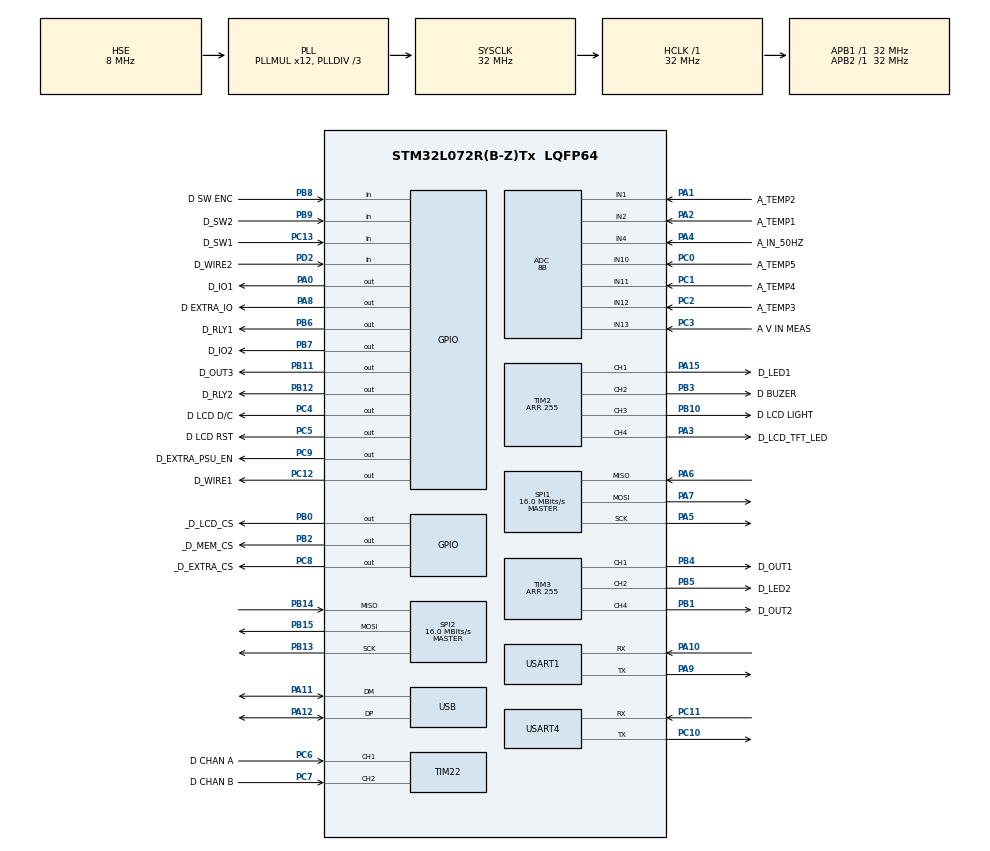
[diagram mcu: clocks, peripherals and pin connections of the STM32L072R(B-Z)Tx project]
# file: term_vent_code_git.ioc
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ADC.ClockPrescaler=ADC_CLOCK_SYNC_PCLK_DIV2
ADC.ContinuousConvMode=DISABLE
ADC.DMAContinuousRequests=DISABLE
ADC.DataAlign=ADC_DATAALIGN_RIGHT
ADC.DiscontinuousConvMode=DISABLE
ADC.EOCSelection=ADC_EOC_SINGLE_CONV
ADC.EnableAnalogWatchDog=false
ADC.ExternalTrigConv=ADC_SOFTWARE_START
ADC.ExternalTrigConvEdge=ADC_EXTERNALTRIGCONVEDGE_NONE
ADC.LowPowerAutoPowerOff=DISABLE
ADC.LowPowerAutoWait=DISABLE
ADC.LowPowerFrequencyMode=DISABLE
ADC.Overrun=ADC_OVR_DATA_PRESERVED
ADC.OversamplingMode=DISABLE
ADC.Resolution=ADC_RESOLUTION_8B
ADC.SamplingTime=ADC_SAMPLETIME_12CYCLES_5
ADC.ScanConvMode=ADC_SCAN_DIRECTION_FORWARD
Dma.ADC.0.Direction=DMA_PERIPH_TO_MEMORY
Dma.ADC.0.Instance=DMA1_Channel1
Dma.ADC.0.MemDataAlignment=DMA_MDATAALIGN_WORD
Dma.ADC.0.MemInc=DMA_MINC_ENABLE
Dma.ADC.0.Mode=DMA_NORMAL
Dma.ADC.0.PeriphDataAlignment=DMA_PDATAALIGN_WORD
Dma.ADC.0.PeriphInc=DMA_PINC_DISABLE
Dma.ADC.0.Priority=DMA_PRIORITY_LOW
Dma.Request0=ADC
Mcu.Family=STM32L0
Mcu.Name=STM32L072R(B-Z)Tx
Mcu.Package=LQFP64
NVIC.DMA1_Channel1_IRQn=true\:0\:0\:false\:false\:true\:false\:true
NVIC.USB_IRQn=true\:0\:0\:false\:false\:true\:false\:true
PA0.GPIO_Label=D_IO1
PA0.GPIO_ModeDefaultOutputPP=GPIO_MODE_OUTPUT_PP
PA0.GPIO_PuPd=GPIO_NOPULL
PA0.Signal=GPIO_Output
PA1.GPIO_Label=A_TEMP2
PA1.Mode=IN1
PA1.Signal=ADC_IN1
PA10.Mode=Asynchronous
PA10.Signal=USART1_RX
PA11.Mode=Device
PA11.Signal=USB_DM
PA12.Mode=Device
PA12.Signal=USB_DP
PA13.Mode=Serial_Wire
PA13.Signal=SYS_SWDIO
PA14.Mode=Serial_Wire
PA14.Signal=SYS_SWCLK
PA15.GPIO_Label=D_LED1
PA15.Signal=S_TIM2_CH1
PA2.GPIO_Label=A_TEMP1
PA2.Mode=IN2
PA2.Signal=ADC_IN2
PA3.GPIO_Label=D_LCD_TFT_LED
PA3.GPIO_ModeDefaultPP=GPIO_MODE_AF_OD
PA3.Signal=S_TIM2_CH4
PA4.GPIO_Label=A_IN_50HZ
PA4.Mode=IN4
PA4.Signal=ADC_IN4
PA5.Mode=Full_Duplex_Master
PA5.Signal=SPI1_SCK
PA6.Mode=Full_Duplex_Master
PA6.Signal=SPI1_MISO
PA7.Mode=Full_Duplex_Master
PA7.Signal=SPI1_MOSI
PA8.GPIO_Label=D EXTRA_IO
PA8.Signal=GPIO_Output
PA9.Mode=Asynchronous
PA9.Signal=USART1_TX
PB0.GPIO_Label=_D_LCD_CS
PB0.Signal=GPIO_Output
PB1.GPIO_Label=D_OUT2
PB1.Signal=S_TIM3_CH4
PB10.GPIO_Label=D LCD LIGHT
PB10.Signal=S_TIM2_CH3
PB11.GPIO_Label=D_OUT3
PB11.Signal=GPIO_Output
PB12.GPIO_Label=D_RLY2
PB12.Signal=GPIO_Output
PB13.Mode=Full_Duplex_Master
PB13.Signal=SPI2_SCK
PB14.Mode=Full_Duplex_Master
PB14.Signal=SPI2_MISO
PB15.Mode=Full_Duplex_Master
PB15.Signal=SPI2_MOSI
PB2.GPIO_Label=_D_MEM_CS
PB2.Signal=GPIO_Output
PB3.GPIO_Label=D BUZER
PB3.Signal=S_TIM2_CH2
PB4.GPIO_Label=D_OUT1
PB4.Signal=S_TIM3_CH1
PB5.GPIO_Label=D_LED2
PB5.Signal=S_TIM3_CH2
PB6.GPIO_Label=D_RLY1
PB6.Signal=GPIO_Output
PB7.GPIO_Label=D_IO2
PB7.Signal=GPIO_Output
PB8.GPIO_Label=D SW ENC
PB8.Signal=GPIO_Input
PB9.GPIO_Label=D_SW2
PB9.Signal=GPIO_Input
PC0.GPIO_Label=A_TEMP5
PC0.Mode=IN10
PC0.Signal=ADC_IN10
PC1.GPIO_Label=A_TEMP4
PC1.Mode=IN11
PC1.Signal=ADC_IN11
PC10.Mode=Asynchronous
PC10.Signal=USART4_TX
PC11.Mode=Asynchronous
PC11.Signal=USART4_RX
PC12.GPIO_Label=D_WIRE1
PC12.Signal=GPIO_Output
PC13.GPIO_Label=D_SW1
PC13.Signal=GPIO_Input
PC14-OSC32_IN.Mode=LSE-External-Oscillator
PC14-OSC32_IN.Signal=RCC_OSC32_IN
PC15-OSC32_OUT.Mode=LSE-External-Oscillator
PC15-OSC32_OUT.Signal=RCC_OSC32_OUT
PC2.GPIO_Label=A_TEMP3
PC2.Mode=IN12
PC2.Signal=ADC_IN12
PC3.GPIO_Label=A V IN MEAS
PC3.Mode=IN13
PC3.Signal=ADC_IN13
PC4.GPIO_Label=D LCD D/C
PC4.Signal=GPIO_Output
PC5.GPIO_Label=D LCD RST
PC5.Signal=GPIO_Output
PC6.GPIO_Label=D CHAN A
PC6.Signal=S_TIM22_CH1
PC7.GPIO_Label=D CHAN B
PC7.Signal=S_TIM22_CH2
PC8.GPIO_Label=_D_EXTRA_CS
PC8.Signal=GPIO_Output
PC9.GPIO_Label=D_EXTRA_PSU_EN
PC9.Signal=GPIO_Output
PD2.GPIO_Label=D_WIRE2
PD2.Signal=GPIO_Input
PH0-OSC_IN.Mode=HSE-External-Oscillator
PH0-OSC_IN.Signal=RCC_OSC_IN
PH1-OSC_OUT.Mode=HSE-External-Oscillator
PH1-OSC_OUT.Signal=RCC_OSC_OUT
ProjectManager.HeapSize=0x200
ProjectManager.StackSize=0x400
ProjectManager.TargetToolchain=Makefile
RCC.AHBFreq_Value=32000000
RCC.APB1Freq_Value=32000000
RCC.APB1TimFreq_Value=32000000
RCC.APB2Freq_Value=32000000
RCC.APB2TimFreq_Value=32000000
RCC.HCLKFreq_Value=32000000
RCC.HSE_VALUE=8000000
RCC.HSI16_VALUE=16000000
RCC.HSI48_VALUE=48000000
RCC.HSI_VALUE=16000000
RCC.MSI_VALUE=2097000
RCC.PLLDIV=RCC_PLLDIV_3
RCC.PLLMUL=RCC_PLLMUL_12
RCC.RTCClockSelection=RCC_RTCCLKSOURCE_LSE
RCC.RTCClockSelectionVirtual=RCC_RTCCLKSOURCE_LSE
RCC.SYSCLKFreq_VALUE=32000000
RCC.SYSCLKSource=RCC_SYSCLKSOURCE_PLLCLK
RCC.VCOOutputFreq_Value=96000000
RTC.Date=19
RTC.Month=RTC_MONTH_DECEMBER
RTC.WeekDay=RTC_WEEKDAY_SATURDAY
RTC.Year=20
SH.S_TIM22_CH1.0=TIM22_CH1,Encoder_Interface
SH.S_TIM22_CH2.0=TIM22_CH2,Encoder_Interface
SH.S_TIM2_CH1.0=TIM2_CH1,PWM Generation1 CH1
SH.S_TIM2_CH2.0=TIM2_CH2,PWM Generation2 CH2
SH.S_TIM2_CH3.0=TIM2_CH3,PWM Generation3 CH3
SH.S_TIM2_CH4.0=TIM2_CH4,PWM Generation4 CH4
SH.S_TIM3_CH1.0=TIM3_CH1,PWM Generation1 CH1
SH.S_TIM3_CH2.0=TIM3_CH2,PWM Generation2 CH2
SH.S_TIM3_CH4.0=TIM3_CH4,PWM Generation4 CH4
SPI1.CalculateBaudRate=16.0 MBits/s
SPI1.Direction=SPI_DIRECTION_2LINES
SPI1.Mode=SPI_MODE_MASTER
SPI1.VirtualType=VM_MASTER
SPI2.CalculateBaudRate=16.0 MBits/s
SPI2.Direction=SPI_DIRECTION_2LINES
SPI2.Mode=SPI_MODE_MASTER
SPI2.VirtualType=VM_MASTER
TIM2.Channel-PWM\ Generation1\ CH1=TIM_CHANNEL_1
TIM2.Channel-PWM\ Generation2\ CH2=TIM_CHANNEL_2
TIM2.Channel-PWM\ Generation3\ CH3=TIM_CHANNEL_3
TIM2.Channel-PWM\ Generation4\ CH4=TIM_CHANNEL_4
TIM2.OCPolarity_1=TIM_OCPOLARITY_HIGH
TIM2.OCPolarity_2=TIM_OCPOLARITY_HIGH
TIM2.OCPolarity_3=TIM_OCPOLARITY_HIGH
TIM2.Period=255
TIM2.Pulse-PWM\ Generation1\ CH1=200
TIM2.Pulse-PWM\ Generation2\ CH2=35
TIM2.Pulse-PWM\ Generation3\ CH3=240
TIM2.Pulse-PWM\ Generation4\ CH4=600
TIM21.Period=0x0FFFF
TIM21.Prescaler=32
TIM3.Channel-PWM\ Generation1\ CH1=TIM_CHANNEL_1
TIM3.Channel-PWM\ Generation2\ CH2=TIM_CHANNEL_2
TIM3.Channel-PWM\ Generation4\ CH4=TIM_CHANNEL_4
TIM3.Period=255
TIM3.Pulse-PWM\ Generation1\ CH1=120
TIM3.Pulse-PWM\ Generation2\ CH2=50
TIM3.Pulse-PWM\ Generation4\ CH4=250
USART1.VirtualMode-Asynchronous=VM_ASYNC
USART4.VirtualMode-Asynchronous=VM_ASYNC
USB_DEVICE.CLASS_NAME_FS=CDC
USB_DEVICE.VirtualMode=Cdc
USB_DEVICE.VirtualModeFS=Cdc_FS
VP_RTC_VS_RTC_Activate.Mode=RTC_Enabled
VP_RTC_VS_RTC_Calendar.Mode=RTC_Calendar
VP_RTC_VS_RTC_WakeUp_intern.Mode=WakeUp
VP_SYS_V_PVD_IN.Mode=Mode_PVD_Int
VP_TIM21_VS_ClockSourceINT.Mode=Internal
VP_USB_DEVICE_VS_USB_DEVICE_CDC_FS.Mode=CDC_FS
board=term_vent_git

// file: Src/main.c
/* USER CODE BEGIN Header */
/**
  ******************************************************************************
  * @file           : main.c
  * @brief          : Main program body
  ******************************************************************************
  * @attention
  *
  * <h2><center>&copy; Copyright (c) 2020 STMicroelectronics.
  * All rights reserved.</center></h2>
  *
  * This software component is licensed by ST under BSD 3-Clause license,
  * the "License"; You may not use this file except in compliance with the
  * License. You may obtain a copy of the License at:
  *                        opensource.org/licenses/BSD-3-Clause
  *
  ******************************************************************************
  */

/**
  * poznamky k debugu - oteviram tento zdrojak pomoci VS Code
  * - build: CTRL+SHIFT+B
  *  - download and run (nahrat do desky a spustit) - Termina - Run task - CPU: build, download and run
  *
  *
  */
// !!!soubor main.c v rootu je z funkcniho zdrojaku - neni uplne zkopirovan,

/* USER CODE END Header */
#include "main.h"
#include "adc.h"
#include "dma.h"
#include "rtc.h"
#include "spi.h"
#include "tim.h"
#include "usart.h"
#include "usb_device.h"
#include "gpio.h"

/* USER CODE BEGIN Includes */
/**
 * Program pro ventilacni system
 */
#include "pinmap.h"
#include "peripherals.h"
#include "global.h"
#include "lcd_12864.h"
#include "BME280.h"
#include "ds18b20.h"
#include <stdio.h>
#include "rtc_api.h"
#include "Time.h"
#include "log.h"
#include "sleep.h"
#include "pwm.h"
#include "mode-auto.h"
#include "menu.h"

/* USER CODE END Includes */

/* USER CODE BEGIN PV */

static States_loop current_state;
static Screen show;
Device_mode vent_mode;
Flags_main flags;
Mode_auto_s vent_auto;

uint32_t citac = 0;
int8_t en_count = 0;
uint16_t ventilation_manual;
uint16_t ventilation_set;

Buttons pushed_button; //cleared each main cycle

/* USER CODE END PV */

void SystemClock_Config(void);

int main(void)
{

  /* MCU Configuration--------------------------------------------------------*/

  /* Reset of all peripherals, Initializes the Flash interface and the Systick. */
  HAL_Init();

  /* USER CODE BEGIN Init */
  char buffer_s[32];
  uint16_t sirka = 0;
  uint32_t InputVoltage = 0;
  uint8_t en_count_last = 0;
  Bool show_time = TRUE;
  uint8_t ventilation_index;
  uint8_t vent_instant = 0;
  char aShowTime[50] = {0};

  //timeouts
  Compare_t backlite_compare, measure_compare, led_compare, time_compare, button_compare, vent_compare, logging_compare, show_timeout, vent_instant_timeout;
  backlite_compare.overflow = FALSE, measure_compare.overflow = FALSE, led_compare.overflow = FALSE, time_compare.overflow = FALSE, button_compare.overflow = FALSE, vent_compare.overflow = FALSE, logging_compare.overflow = FALSE, show_timeout.overflow = FALSE, vent_instant_timeout.overflow = FALSE;
  actual_HALtick.overflow = FALSE;
  past_HALtick.overflow = FALSE;

  /* USER CODE END Init */

  /* Configure the system clock */
  SystemClock_Config();

  /* Initialize all configured peripherals */
  MX_GPIO_Init();
  MX_DMA_Init();
  MX_ADC_Init();
  MX_RTC_Init();
  MX_SPI1_Init();
  MX_SPI2_Init();
  MX_TIM2_Init();
  MX_TIM3_Init();
  MX_TIM21_Init();
  MX_TIM22_Init();
  MX_USART1_UART_Init();
  MX_USART4_UART_Init();
  MX_USB_DEVICE_Init();
  /* USER CODE BEGIN 2 */
  backlite_init();
  fill_comparer(BACKLITE_TIMEOUT, &backlite_compare);

  lcd12864_init(&hspi1);
  line(0, 60, 110, 60, 1);
  lcd_setCharPos(0, 0);
  lcd_printString("Initialization unit\r");
  lcd_printString("term_vent_git\r");
  snprintf(buffer_s, 11, "SW v 0.%03d", SW_VERSION);
  lcd_printString(buffer_s);
  //ENCODER initialization
  HAL_TIM_Encoder_Start(&htim22, TIM_CHANNEL_1);
  htim22.Instance->EGR = 1; // Generate an update event
  htim22.Instance->CR1 = 1; // Enable the counter

  HAL_Delay(1700);
  lcd_clear();

  //Init of timers
  fill_comparer(TIME_PERIODE, &time_compare);
  fill_comparer(BUT_DELAY, &button_compare);
  fill_comparer(10, &vent_compare);
  show = desktop;

  mode_auto_init(&vent_auto); // inicializace automatickeho temperovani - nulovani

  /* USER CODE END 2 */

  /* Infinite loop */
  /* USER CODE BEGIN WHILE */
  for (;;)
  {

    switch (current_state)
    {
    case SLEEP:
    { //			neni potreba spanku
      Go_To_Sleep(&hrtc);
      current_state = MEASURING;
      show_time = TRUE;
      break;
    }
    case IDLE:
    {
      break;
    }
    case VENT:
    {
      /*   AUTO   */
      if (AUTO == vent_mode)
      {
        ventilation_index = mode_auto_index(&vent_auto, &hrtc); // aktualni index dle hodin

        if (vent_auto.PWM_OUT[ventilation_index] == 0) // vypni ventilator
        {
          flags.heating_up = FALSE;
          flags.regulation_temp = FALSE;
        }
        else if (vent_auto.PWM_OUT[ventilation_index] == 1)
        {
          flags.heating_up = FALSE;
          flags.regulation_temp = FALSE;
        }
        else
        {
          flags.regulation_temp = TRUE;
        }
      }
      /*   INSTANT   */
      if (flags.vent_instant) // INSTANTni vyhrivani - vzdy jen max 2 hodiny
      {
        if (!comparer_timeout(&vent_instant_timeout))
          turnOnVentilator(255);
        else
        {
          flags.vent_instant = FALSE;
          flags.vent_instant_req = TRUE;
          vent_instant = 0;
        }
      }
      else // bezny provoz
      {
        // vypni topeni
        {
          turnOffVentilator();
          flags.heating_up = FALSE;
        }
      }
      fill_comparer(VENT_PERIODE, &vent_compare);
      current_state = IDLE;
      break;
    }
#ifdef LOG_ENABLE
    case LOG:
    {
      if (flags.log_enable)
      {
        Log_Temperature(&hrtc, temperature, humid);
      }
      fill_comparer_seconds(LOG_PERIODE, &logging_compare);
      sirka = Log_memory_fullness() * LCD_WIDTH / LOG_DATA_LENGTH;
      current_state = IDLE;
      break;
    }
#endif
    default:
    {
      break;
    }

    } // end of switch CURRENT STATEF

    /* **** SCREEN **** */
    switch (show)
    {

    case blind:
    {
      lcd_clear();
      show = idle;
      break;
    }
    case desktop:
    { // showing main screen - temperatures and Hum
      if (flags.new_data_to_show == TRUE)
      {

        // Marking - heating is active/not active
        lcd_setCharPos(1, 19);
        switch (vent_mode)
        {
        case OFF:
          lcd_printString("-");
          break;
        case MANUAL:
          _putc(0x07f);
          break;
        case AUTO:
          lcd_printString("A");
          break;
        default:
          lcd_printString("E"); //ERROR dostal jsem se mimo definovanou skupinu
          break;
        }

        if (flags.vent_instant_req)
        {
          flags.vent_instant_req = FALSE;
          if (!flags.vent_instant)
          {
            char_magnitude(2);
            lcd_setCharPos(4, 19);
            lcd_printString(" ");
            char_magnitude(1);
            lcd_setCharPos(6, 15);
            snprintf(buffer_s, 8, "        ");
            lcd_printString(buffer_s);

            PWM_duty_change(LED2, 0);
          }
        }

        // END Marking - heating is active/not active

        char_magnitude(1);
        lcd_setCharPos(3, 2);
        if (0 == ventilation_set)
          snprintf(buffer_s, 12, "set  OFF");
        else if (1 == ventilation_set)
        {
          snprintf(buffer_s, 15, "set  NO PRESET");
        }
        else
          snprintf(buffer_s, 12, "set %3d", ventilation_set);
        lcd_printString(buffer_s);

        /*	lcd_setCharPos(6,4);
  					snprintf(buffer_s, 18, "Pres %d.%02d hp",presure/100,presure%100);
  					lcd_printString(buffer_s);
				 */

        flags.new_data_to_show = FALSE; // the data was showed.

        /* Ukazka plnosti pameti na logovani */
        // cara bude na spodni strane a bude tri tecky siroka
        {
          line(0, 62, sirka, 62, 1);
        }

        if ((vent_mode == AUTO) & (!flags.vent_instant))
          mode_auto_graph(&vent_auto, &hrtc); // zakresleni casoveho diagramu zapnuti/ vypnuti topeni

      } // end if - new data to show
      if (show_time)
      {
        RTC_DateShow(&hrtc, aShowTime);
        lcd_setCharPos(0, 11);
        lcd_printString(aShowTime);
        RTC_TimeShow(&hrtc, aShowTime);
        lcd_setCharPos(0, 1);
        lcd_printString(aShowTime);

        if (flags.vent_instant) // odpocet casu pro instant heating
        {
          char_magnitude(2);
          lcd_setCharPos(4, 19);
          _putc(0x07f);
          char_magnitude(1);
          lcd_setCharPos(6, 15);
          uint16_t instantEndTime = end_of_timeout(&vent_instant_timeout);
          snprintf(buffer_s, 8, "%3u:%02u", instantEndTime / 60, instantEndTime % 60);
          lcd_printString(buffer_s);
		      PWM_duty_change(LED2, instantEndTime/60);

        }
        fill_comparer(TIME_PERIODE, &time_compare);
        show_time = FALSE;
      }
      break;
    }
    case menu:
    {
      display_menu(ActualMenu);
      break;
    }
    default:
    {
      lcd_setCharPos(1, 1);
      lcd_printString("ERROR display -default");
    }
    } // switch show

    /* *------ TIME ELAPSING CHECK -------* */
    get_actual_HAL_tick(); // put the actual number of ms counter to variable actual_HALtic.tick

    if (comparer_timeout(&logging_compare)) //log data after defined period.
    {
      current_state = LOG;
    }
    if (comparer_timeout(&vent_compare)) //measure after defined period.
    {
      current_state = VENT;
    }
    if (comparer_timeout(&time_compare)) //change time after defined period.
    {
      show_time = TRUE;
    }

    if (comparer_timeout(&show_timeout)) //change time after defined period.
    {
      show = desktop;
    }
    // MENU TIMEOUT
    if (TRUE == flags.menu_running)
    { // je to takhle slozite , protoze jsem neprisel na jiny efektivni zpusob, jak smazat displej, po zkonceni menu
      if (!menu_timout())
      {
        uint8_t menu_exit_code = menu_action();
        if (1 != menu_exit_code)
        { // exit from menu condition

          switch (menu_exit_code)
          {
          case 20: // exit after log erasse
            sirka = Log_memory_fullness() * LCD_WIDTH / LOG_DATA_LENGTH;
            break;
          }
          flags.menu_running = 0;
          lcd_clear();
          show = desktop;
        }
        else
          show = menu;
      } // if menu - TIMEOUT
      else
      {
        flags.menu_running = 0;
        lcd_clear();
        show = desktop;
      }
      fill_comparer(BACKLITE_TIMEOUT, &backlite_compare); // Pro udrzeni rozsviceneho displeje v menu! NETESTOVANO.
    }
    if (flags.temp_new_set)
    {
      flags.temp_new_set = FALSE;
      ventilation_set = ventilation_manual;
      show = desktop;
    }
    if (comparer_timeout(&backlite_compare))
    {
      backliteOff();
    }

    /* *---- READ KEYBOARD -----* */

    pushed_button = BUT_NONE;
    if (comparer_timeout(&button_compare)) //every delay time
    {
      pushed_button = checkButtons();
      fill_comparer(BUT_DELAY, &button_compare);

      // reading the actual number from encoder
      uint32_t actual_counter_CNT = htim22.Instance->CNT;
      if (en_count_last != actual_counter_CNT)
      {
        en_count += actual_counter_CNT - en_count_last;
        en_count_last = actual_counter_CNT;
        flags.enc_changed = TRUE;
        if (pushed_button == BUT_NONE) // enabling light/ increase time constants.
          pushed_button = ENCODER;
      }
    }
    if (pushed_button != BUT_NONE) // any button pushed?
    {
      backliteOn();
      fill_comparer(BUT_DELAY * 100, &button_compare); // 200x - zpozdeni cteni pri stisknuti
      fill_comparer(BACKLITE_TIMEOUT, &backlite_compare);
      fill_comparer(SHOW_TIMEOUT, &show_timeout);
      // neco se zmenilo uzivatel - prekreslit cely displej
      flags.new_data_to_show = TRUE;
    }

    // -- BUTTON PROCCESS
    switch (pushed_button)
    {
    case BUT_1:
    { // activate heater
      /*
//      vent_mode++; // cyklovani modu pro termostat

      switch (vent_mode)
      {
      case OFF:
      {
        flags.regulation_temp = FALSE;
#ifndef DEBUG_TERMOSTAT                       ///// NOT - NEGOVANE!
        ventilation_set = ventilation_manual; // kvuli zobrazovani, jinak tam muze byt -210 apodobne
#endif
        mode_auto_graph_delete();
        break;
      }
      case MANUAL:
      {
        flags.regulation_temp = TRUE;
        flags.heating_up = TRUE;
        ventilation_set = ventilation_manual;
        mode_auto_graph_delete();
        break;
      }
      case AUTO:
      {
        flags.regulation_temp = TRUE;
        flags.heating_up = TRUE;
        break;
      }
      default:
      {
        flags.regulation_temp = FALSE;
        vent_mode = OFF;
        break;
      }
      }
*/
      break;
    }
    case BUT_2:
    { // Immediattely heating for 15 minutes

      flags.vent_instant = TRUE;
      flags.vent_instant_req = TRUE;
      vent_instant++;
      if (6 < vent_instant)
      {
        flags.vent_instant = FALSE;
        vent_instant = 0;
      }
      fill_comparer_seconds(HEATING_INSTANT * vent_instant, &vent_instant_timeout);
      break;
    }
    case BUT_ENC:
    {
      flags.enc_changed = TRUE; // jenom pomoc aby se zobrazila sipka vzdy...
      if (0 == flags.menu_running)
      {
        flags.menu_activate = 1;
        en_count = 0;
        en_count_last = 0;
        htim22.Instance->CNT = 0;
        activation_memu();
        lcd_clear();
        show = menu;

        // if this command means go to menu, That there shouldn't be no more pressed.
        pushed_button = BUT_NONE;
      }
      break;
    }
    case ENCODER:
    {
      break;
    }
    default:
    {

      break;
    }

    } // switch pushed button

    /* USER CODE END WHILE */

    /* USER CODE BEGIN 3 */

    HAL_Delay(MAIN_LOOP);
    debug_led_heartbeat();
  }
  /* USER CODE END 3 */
}

void SystemClock_Config(void)
{
  RCC_OscInitTypeDef RCC_OscInitStruct = {0};
  RCC_ClkInitTypeDef RCC_ClkInitStruct = {0};
  RCC_PeriphCLKInitTypeDef PeriphClkInit = {0};

  /** Configure the main internal regulator output voltage
  */
  __HAL_PWR_VOLTAGESCALING_CONFIG(PWR_REGULATOR_VOLTAGE_SCALE1);
  /** Configure LSE Drive Capability
  */
  HAL_PWR_EnableBkUpAccess();
  __HAL_RCC_LSEDRIVE_CONFIG(RCC_LSEDRIVE_LOW);
  /** Initializes the RCC Oscillators according to the specified parameters
  * in the RCC_OscInitTypeDef structure.
  */
  RCC_OscInitStruct.OscillatorType = RCC_OSCILLATORTYPE_HSE | RCC_OSCILLATORTYPE_LSE;
  RCC_OscInitStruct.HSEState = RCC_HSE_ON;
  RCC_OscInitStruct.LSEState = RCC_LSE_ON;
  RCC_OscInitStruct.PLL.PLLState = RCC_PLL_ON;
  RCC_OscInitStruct.PLL.PLLSource = RCC_PLLSOURCE_HSE;
  RCC_OscInitStruct.PLL.PLLMUL = RCC_PLLMUL_12;
  RCC_OscInitStruct.PLL.PLLDIV = RCC_PLLDIV_3;
  if (HAL_RCC_OscConfig(&RCC_OscInitStruct) != HAL_OK)
  {
    Error_Handler();
  }
  /** Initializes the CPU, AHB and APB buses clocks
  */
  RCC_ClkInitStruct.ClockType = RCC_CLOCKTYPE_HCLK | RCC_CLOCKTYPE_SYSCLK | RCC_CLOCKTYPE_PCLK1 | RCC_CLOCKTYPE_PCLK2;
  RCC_ClkInitStruct.SYSCLKSource = RCC_SYSCLKSOURCE_PLLCLK;
  RCC_ClkInitStruct.AHBCLKDivider = RCC_SYSCLK_DIV1;
  RCC_ClkInitStruct.APB1CLKDivider = RCC_HCLK_DIV1;
  RCC_ClkInitStruct.APB2CLKDivider = RCC_HCLK_DIV1;

  if (HAL_RCC_ClockConfig(&RCC_ClkInitStruct, FLASH_LATENCY_1) != HAL_OK)
  {
    Error_Handler();
  }
  PeriphClkInit.PeriphClockSelection = RCC_PERIPHCLK_USART1 | RCC_PERIPHCLK_RTC | RCC_PERIPHCLK_USB;
  PeriphClkInit.Usart1ClockSelection = RCC_USART1CLKSOURCE_PCLK2;
  PeriphClkInit.RTCClockSelection = RCC_RTCCLKSOURCE_LSE;
  PeriphClkInit.UsbClockSelection = RCC_USBCLKSOURCE_PLL;
  if (HAL_RCCEx_PeriphCLKConfig(&PeriphClkInit) != HAL_OK)
  {
    Error_Handler();
  }
}

void Error_Handler(void)
{
  __disable_irq();
  while (1)
  {
  }
}

/************************ (C) COPYRIGHT STMicroelectronics *****END OF FILE****/
